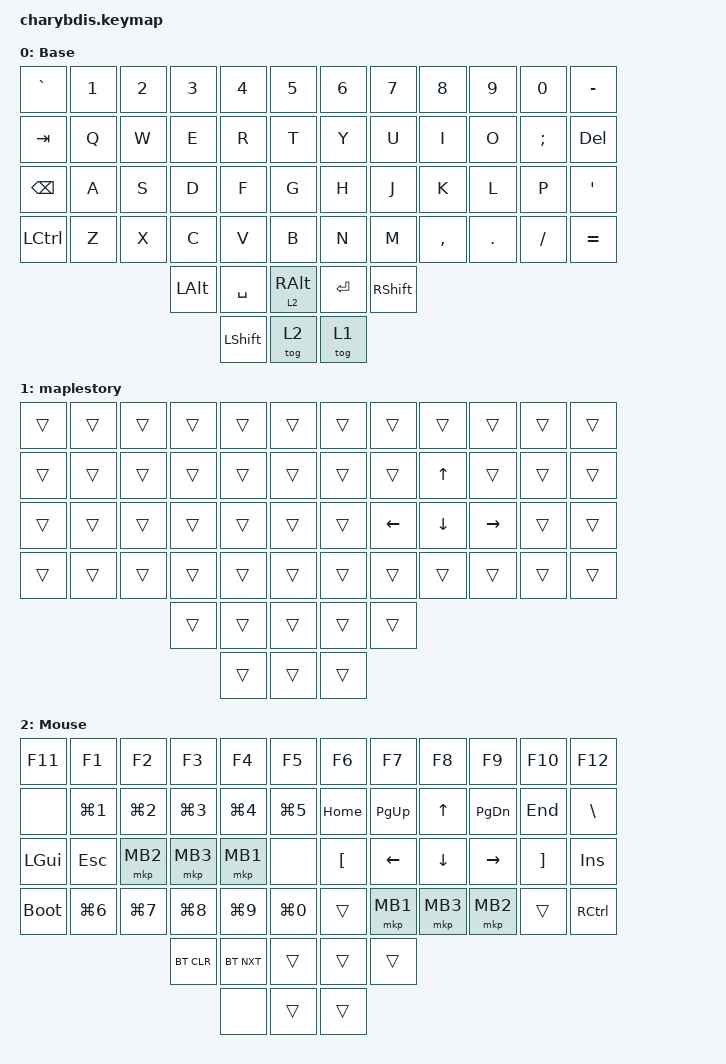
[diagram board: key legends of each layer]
#include <dt-bindings/zmk/mouse.h>
#include <behaviors.dtsi>
#include <dt-bindings/zmk/bt.h>
#include <dt-bindings/zmk/keys.h>

&lt {
    tapping-term-ms = <200>;
    flavor = "balanced";
    quick-tap-ms = <150>;
};

/ {
    combos {
        compatible = "zmk,combos";

        escc {
            bindings = <&kp ESC>;
            key-positions = <17 18>;
            layers = <0>;
        };
    };

    keymap {
        compatible = "zmk,keymap";

        Base {
            bindings = <
&kp GRAVE      &kp N1  &kp N2  &kp N3        &kp N4          &kp N5        &kp N6     &kp N7           &kp N8     &kp N9   &kp N0         &kp MINUS
&kp TAB        &kp Q   &kp W   &kp E         &kp R           &kp T         &kp Y      &kp U            &kp I      &kp O    &kp SEMICOLON  &kp DEL
&kp BACKSPACE  &kp A   &kp S   &kp D         &kp F           &kp G         &kp H      &kp J            &kp K      &kp L    &kp P          &kp APOS
&kp LCTRL      &kp Z   &kp X   &kp C         &kp V           &kp B         &kp N      &kp M            &kp COMMA  &kp DOT  &kp SLASH      &kp EQUAL
                               &kp LEFT_ALT  &kp SPACE       &lt 2 RALT    &kp ENTER  &kp RIGHT_SHIFT
                                             &kp LEFT_SHIFT  &tog 2        &tog 1
            >;

            trackball-bindings = <&tmv_coarse>;
        };

        maplestory {
            bindings = <
&trans  &trans  &trans  &trans  &trans  &trans    &trans  &trans    &trans        &trans     &trans  &trans
&trans  &trans  &trans  &trans  &trans  &trans    &trans  &trans    &kp UP_ARROW  &trans     &trans  &trans
&trans  &trans  &trans  &trans  &trans  &trans    &trans  &kp LEFT  &kp DOWN      &kp RIGHT  &trans  &trans
&trans  &trans  &trans  &trans  &trans  &trans    &trans  &trans    &trans        &trans     &trans  &trans
                        &trans  &trans  &trans    &trans  &trans
                                &trans  &trans    &trans
            >;
        };

        Mouse {
            bindings = <
&kp F11      &kp F1            &kp F2      &kp F3      &kp F4      &kp F5        &kp F6            &kp F7       &kp F8        &kp F9         &kp F10            &kp F12
&none        &kp LG(NUMBER_1)  &kp LG(N2)  &kp LG(N3)  &kp LG(N4)  &kp LG(N5)    &kp HOME          &kp PAGE_UP  &kp UP_ARROW  &kp PAGE_DOWN  &kp END            &kp BACKSLASH
&kp LGUI     &kp ESC           &mkp MB2    &mkp MB3    &mkp MB1    &none         &kp LEFT_BRACKET  &kp LEFT     &kp DOWN      &kp RIGHT      &kp RIGHT_BRACKET  &kp INSERT
&bootloader  &kp LG(N6)        &kp LG(N7)  &kp LG(N8)  &kp LG(N9)  &kp LG(N0)    &trans            &mkp MB1     &mkp MB3      &mkp MB2       &trans             &kp RCTRL
                                           &bt BT_CLR  &bt BT_NXT  &trans        &trans            &trans
                                                       &none       &trans        &trans
            >;
        };
    };
};
